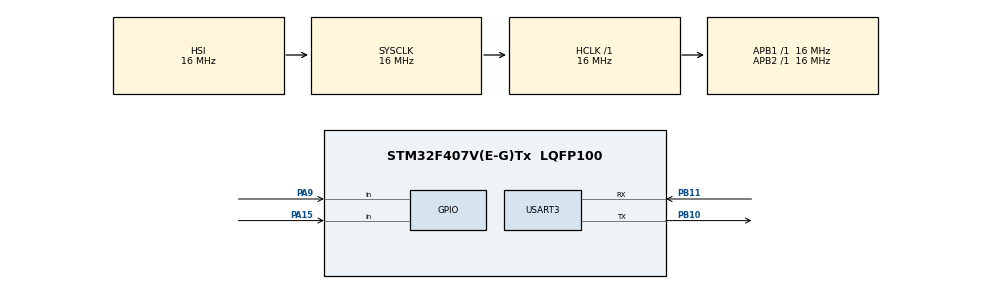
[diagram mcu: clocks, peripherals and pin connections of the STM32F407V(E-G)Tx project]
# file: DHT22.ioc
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Mcu.Family=STM32F4
Mcu.Name=STM32F407V(E-G)Tx
Mcu.Package=LQFP100
NVIC.PriorityGroup=NVIC_PRIORITYGROUP_4
NVIC.USART3_IRQn=true\:0\:0\:false\:false\:true\:true\:true\:true
PA15.Signal=GPIO_Input
PA9.Signal=GPIO_Input
PB10.Mode=Asynchronous
PB10.Signal=USART3_TX
PB11.Mode=Asynchronous
PB11.Signal=USART3_RX
ProjectManager.HeapSize=0x200
ProjectManager.StackSize=0x400
ProjectManager.TargetToolchain=MDK-ARM V5
RCC.AHBFreq_Value=16000000
RCC.APB1Freq_Value=16000000
RCC.APB2Freq_Value=16000000
RCC.CortexFreq_Value=16000000
RCC.HSE_VALUE=25000000
RCC.HSI_VALUE=16000000
RCC.LSE_VALUE=32768
RCC.SYSCLKFreq_VALUE=16000000
RCC.VCOOutputFreq_Value=192000000
USART3.VirtualMode=VM_ASYNC
board=custom

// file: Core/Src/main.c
/* USER CODE BEGIN Header */
/**
  ******************************************************************************
  * @file           : main.c
  * @brief          : Main program body
  ******************************************************************************
  * @attention
  *
  * Copyright (c) 2022 STMicroelectronics.
  * All rights reserved.
  *
  * This software is licensed under terms that can be found in the LICENSE file
  * in the root directory of this software component.
  * If no LICENSE file comes with this software, it is provided AS-IS.
  *
  ******************************************************************************
  */
/* USER CODE END Header */
#include "main.h"

/* USER CODE BEGIN Includes */
#include "stdio.h"
#include "string.h"
#include "MY_DHT22.h"
/* USER CODE END Includes */

UART_HandleTypeDef huart3;

/* USER CODE BEGIN PV */
uint8_t buffer[200];
float TempC, Humidity;
char uartData[50];
char statusBaju[50];
/* USER CODE END PV */

void SystemClock_Config(void);
static void MX_GPIO_Init(void);
static void MX_USART3_UART_Init(void);

int main(void)
{

  /* MCU Configuration--------------------------------------------------------*/

  /* Reset of all peripherals, Initializes the Flash interface and the Systick. */
  HAL_Init();

  /* Configure the system clock */
  SystemClock_Config();

  /* Initialize all configured peripherals */
  MX_GPIO_Init();
  MX_USART3_UART_Init();
  /* USER CODE BEGIN 2 */
  DHT22_Init(GPIOA, GPIO_PIN_15);
  /* USER CODE END 2 */

  /* Infinite loop */
  while (1)
  {

    /* USER CODE BEGIN 3 */
		int strSize = sprintf((char*)buffer, "mosok rakenek");
		HAL_UART_Transmit(&huart3, buffer, strSize, 100);

		// ====================== Jika DHT22 BISA DIAKSES ==================================
		if(DHT22_GetTemp_Humidity(&TempC, &Humidity) == 1)
		{

			// kondisi suhu dibawah 50
			if(TempC < 50.0 ){
				HAL_GPIO_WritePin(GPIOB, GPIO_PIN_15,GPIO_PIN_SET);
				//lcd_gotoxy(0,0);
				//lcd_puts("Blower ON");
				//HAL_Delay(2000);

				HAL_GPIO_WritePin(GPIOB, GPIO_PIN_12,GPIO_PIN_RESET);
				//lcd_gotoxy(0,0);
				//lcd_puts("Exhaust OFF");
				//HAL_Delay(2000);
			}

			// kondisi suhu diatas 50
			else{
				HAL_GPIO_WritePin(GPIOB, GPIO_PIN_15,GPIO_PIN_RESET);
				//lcd_gotoxy(0,0);
				//lcd_puts("Blower OFF");
				//HAL_Delay(2000);

				HAL_GPIO_WritePin(GPIOB, GPIO_PIN_12,GPIO_PIN_SET);
				//lcd_gotoxy(0,0);
				//lcd_puts("Exhaust ON");
				//HAL_Delay(2000);
			}

			// kondisi kelembapan diatas 20
			if(Humidity > 20.0){
				//lcd_gotoxy(0,0);
				//lcd_puts("Belum Kering");
				//HAL_Delay(2000);
				sprintf(statusBaju, "Belum Kering");
			}

			// kondisi kelembapan dibawah 20
			else{
				//lcd_gotoxy(0,0);
				//lcd_puts("Sudah Kering");
				//HAL_Delay(2000);
				sprintf(statusBaju, "Sudah Kering");
			}

			sprintf(uartData, "%0.2f%0.2f%s", TempC, Humidity, statusBaju);
			HAL_UART_Transmit(&huart3, (uint8_t *)uartData, strlen(uartData), 100);
		}

		// JIKA DHT22 TDK BISA DIAKSES
		else
		{
			sprintf(uartData, "\r\nCRC Error!\r\n");
			HAL_UART_Transmit(&huart3, (uint8_t *)uartData, strlen(uartData), 100);
		}
	//---------------------------COBA RELAY------------------------------

		HAL_Delay(1000);
  }
  /* USER CODE END 3 */
}

void SystemClock_Config(void)
{
  RCC_OscInitTypeDef RCC_OscInitStruct = {0};
  RCC_ClkInitTypeDef RCC_ClkInitStruct = {0};

  /** Configure the main internal regulator output voltage
  */
  __HAL_RCC_PWR_CLK_ENABLE();
  __HAL_PWR_VOLTAGESCALING_CONFIG(PWR_REGULATOR_VOLTAGE_SCALE1);
  /** Initializes the RCC Oscillators according to the specified parameters
  * in the RCC_OscInitTypeDef structure.
  */
  RCC_OscInitStruct.OscillatorType = RCC_OSCILLATORTYPE_HSI;
  RCC_OscInitStruct.HSIState = RCC_HSI_ON;
  RCC_OscInitStruct.HSICalibrationValue = RCC_HSICALIBRATION_DEFAULT;
  RCC_OscInitStruct.PLL.PLLState = RCC_PLL_NONE;
  if (HAL_RCC_OscConfig(&RCC_OscInitStruct) != HAL_OK)
  {
    Error_Handler();
  }
  /** Initializes the CPU, AHB and APB buses clocks
  */
  RCC_ClkInitStruct.ClockType = RCC_CLOCKTYPE_HCLK|RCC_CLOCKTYPE_SYSCLK
                              |RCC_CLOCKTYPE_PCLK1|RCC_CLOCKTYPE_PCLK2;
  RCC_ClkInitStruct.SYSCLKSource = RCC_SYSCLKSOURCE_HSI;
  RCC_ClkInitStruct.AHBCLKDivider = RCC_SYSCLK_DIV1;
  RCC_ClkInitStruct.APB1CLKDivider = RCC_HCLK_DIV1;
  RCC_ClkInitStruct.APB2CLKDivider = RCC_HCLK_DIV1;

  if (HAL_RCC_ClockConfig(&RCC_ClkInitStruct, FLASH_LATENCY_0) != HAL_OK)
  {
    Error_Handler();
  }
}

static void MX_USART3_UART_Init(void)
{

  huart3.Instance = USART3;
  huart3.Init.BaudRate = 115200;
  huart3.Init.WordLength = UART_WORDLENGTH_8B;
  huart3.Init.StopBits = UART_STOPBITS_1;
  huart3.Init.Parity = UART_PARITY_NONE;
  huart3.Init.Mode = UART_MODE_TX_RX;
  huart3.Init.HwFlowCtl = UART_HWCONTROL_NONE;
  huart3.Init.OverSampling = UART_OVERSAMPLING_16;
  if (HAL_UART_Init(&huart3) != HAL_OK)
  {
    Error_Handler();
  }

}

static void MX_GPIO_Init(void)
{
  GPIO_InitTypeDef GPIO_InitStruct = {0};

  /* GPIO Ports Clock Enable */
  __HAL_RCC_GPIOB_CLK_ENABLE();
  __HAL_RCC_GPIOA_CLK_ENABLE();

  /*Configure GPIO pins : PA9 PA15 */
  GPIO_InitStruct.Pin = GPIO_PIN_9|GPIO_PIN_15;
  GPIO_InitStruct.Mode = GPIO_MODE_INPUT;
  GPIO_InitStruct.Pull = GPIO_NOPULL;
  HAL_GPIO_Init(GPIOA, &GPIO_InitStruct);

}

void Error_Handler(void)
{
  __disable_irq();
  while (1)
  {
  }
}
